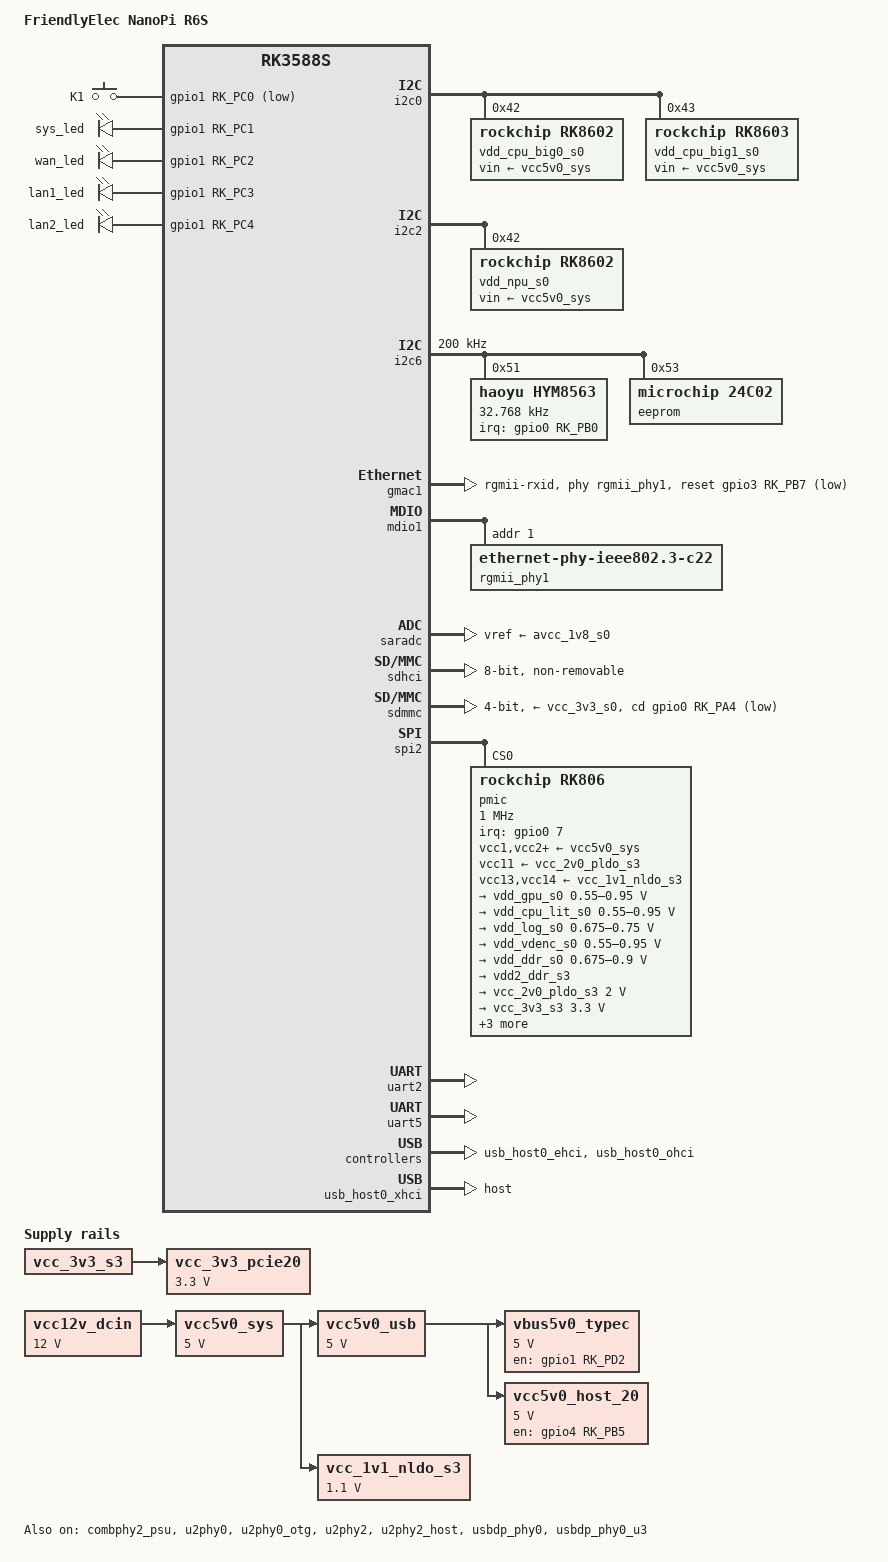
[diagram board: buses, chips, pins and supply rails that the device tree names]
// SPDX-License-Identifier: (GPL-2.0+ OR MIT)

/dts-v1/;

#include <dt-bindings/gpio/gpio.h>
#include <dt-bindings/leds/common.h>
#include <dt-bindings/input/input.h>
#include <dt-bindings/pinctrl/rockchip.h>
#include "rk3588s.dtsi"

/ {
	model = "FriendlyElec NanoPi R6S";
	compatible = "friendlyelec,nanopi-r6s", "rockchip,rk3588s";

	aliases {
		mmc0 = &sdhci;
		mmc1 = &sdmmc;
		serial2 = &uart2;
	};

	chosen {
		stdout-path = "serial2:1500000n8";
	};

	gpio_keys: gpio-keys {
		compatible = "gpio-keys";
		pinctrl-names = "default";
		pinctrl-0 = <&key1_pin>;

		button@1 {
			debounce-interval = <50>;
			gpios = <&gpio1 RK_PC0 GPIO_ACTIVE_LOW>;
			label = "K1";
			linux,code = <BTN_1>;
			wakeup-source;
		};
	};

	gpio_leds: gpio-leds {
		compatible = "gpio-leds";

		sys_led: led-0 {
			gpios = <&gpio1 RK_PC1 GPIO_ACTIVE_HIGH>;
			label = "sys_led";
			linux,default-trigger = "heartbeat";
			pinctrl-names = "default";
			pinctrl-0 = <&sys_led_pin>;
		};

		wan_led: led-1 {
			gpios = <&gpio1 RK_PC2 GPIO_ACTIVE_HIGH>;
			label = "wan_led";
			pinctrl-names = "default";
			pinctrl-0 = <&wan_led_pin>;
		};

		lan1_led: led-2 {
			gpios = <&gpio1 RK_PC3 GPIO_ACTIVE_HIGH>;
			label = "lan1_led";
			pinctrl-names = "default";
			pinctrl-0 = <&lan1_led_pin>;
		};

		lan2_led: led-3 {
			gpios = <&gpio1 RK_PC4 GPIO_ACTIVE_HIGH>;
			label = "lan2_led";
			pinctrl-names = "default";
			pinctrl-0 = <&lan2_led_pin>;
		};
	};

	vcc12v_dcin: vcc12v-dcin-regulator {
		compatible = "regulator-fixed";
		regulator-name = "vcc12v_dcin";
		regulator-always-on;
		regulator-boot-on;
		regulator-min-microvolt = <12000000>;
		regulator-max-microvolt = <12000000>;
	};

	vcc5v0_sys: vcc5v0-sys-regulator {
		compatible = "regulator-fixed";
		regulator-name = "vcc5v0_sys";
		regulator-always-on;
		regulator-boot-on;
		regulator-min-microvolt = <5000000>;
		regulator-max-microvolt = <5000000>;
		vin-supply = <&vcc12v_dcin>;
	};

	vcc5v0_usb: vcc5v0-usb {
		compatible = "regulator-fixed";
		regulator-name = "vcc5v0_usb";
		regulator-always-on;
		regulator-boot-on;
		regulator-min-microvolt = <5000000>;
		regulator-max-microvolt = <5000000>;
		vin-supply = <&vcc5v0_sys>;
	};

	vcc_1v1_nldo_s3: vcc-1v1-nldo-s3-regulator {
		compatible = "regulator-fixed";
		regulator-name = "vcc_1v1_nldo_s3";
		regulator-always-on;
		regulator-boot-on;
		regulator-min-microvolt = <1100000>;
		regulator-max-microvolt = <1100000>;
		vin-supply = <&vcc5v0_sys>;
	};

	vcc_3v3_pcie20: vcc3v3-pcie20 {
		compatible = "regulator-fixed";
		regulator-name = "vcc_3v3_pcie20";
		regulator-always-on;
		regulator-boot-on;
		regulator-min-microvolt = <3300000>;
		regulator-max-microvolt = <3300000>;
		vin-supply = <&vcc_3v3_s3>;
	};

	vbus5v0_typec: vbus5v0-typec {
		compatible = "regulator-fixed";
		enable-active-high;
		gpio = <&gpio1 RK_PD2 GPIO_ACTIVE_HIGH>;
		pinctrl-names = "default";
		pinctrl-0 = <&typec5v_pwren>;
		regulator-name = "vbus5v0_typec";
		regulator-min-microvolt = <5000000>;
		regulator-max-microvolt = <5000000>;
		vin-supply = <&vcc5v0_usb>;
	};

	vcc5v0_host_20: vcc5v0-host-20 {
		compatible = "regulator-fixed";
		enable-active-high;
		gpio = <&gpio4 RK_PB5 GPIO_ACTIVE_HIGH>;
		pinctrl-names = "default";
		pinctrl-0 = <&vcc5v0_host20_en>;
		regulator-name = "vcc5v0_host_20";
		regulator-min-microvolt = <5000000>;
		regulator-max-microvolt = <5000000>;
		vin-supply = <&vcc5v0_usb>;
	};
};

&combphy2_psu {
	status = "okay";
};

&cpu_b0 {
	cpu-supply = <&vdd_cpu_big0_s0>;
};

&cpu_b1 {
	cpu-supply = <&vdd_cpu_big0_s0>;
};

&cpu_b2 {
	cpu-supply = <&vdd_cpu_big1_s0>;
};

&cpu_b3 {
	cpu-supply = <&vdd_cpu_big1_s0>;
};

&cpu_l0 {
	cpu-supply = <&vdd_cpu_lit_s0>;
};

&cpu_l1 {
	cpu-supply = <&vdd_cpu_lit_s0>;
};

&cpu_l2 {
	cpu-supply = <&vdd_cpu_lit_s0>;
};

&cpu_l3 {
	cpu-supply = <&vdd_cpu_lit_s0>;
};

&i2c0 {
	pinctrl-names = "default";
	pinctrl-0 = <&i2c0m2_xfer>;
	status = "okay";

	vdd_cpu_big0_s0: regulator@42 {
		compatible = "rockchip,rk8602";
		reg = <0x42>;
		regulator-name = "vdd_cpu_big0_s0";
		regulator-compatible = "rk860x-reg";
		regulator-always-on;
		regulator-boot-on;
		regulator-min-microvolt = <550000>;
		regulator-max-microvolt = <1050000>;
		regulator-ramp-delay = <2300>;
		rockchip,suspend-voltage-selector = <1>;
		vin-supply = <&vcc5v0_sys>;

		regulator-state-mem {
			regulator-off-in-suspend;
		};
	};

	vdd_cpu_big1_s0: regulator@43 {
		compatible = "rockchip,rk8603", "rockchip,rk8602";
		reg = <0x43>;
		regulator-name = "vdd_cpu_big1_s0";
		regulator-compatible = "rk860x-reg";
		regulator-always-on;
		regulator-boot-on;
		regulator-min-microvolt = <550000>;
		regulator-max-microvolt = <1050000>;
		regulator-ramp-delay = <2300>;
		rockchip,suspend-voltage-selector = <1>;
		vin-supply = <&vcc5v0_sys>;

		regulator-state-mem {
			regulator-off-in-suspend;
		};
	};
};

&i2c2 {
	status = "okay";

	vdd_npu_s0: regulator@42 {
		compatible = "rockchip,rk8602";
		reg = <0x42>;
		regulator-compatible = "rk860x-reg";
		regulator-name = "vdd_npu_s0";
		regulator-always-on;
		regulator-boot-on;
		regulator-min-microvolt = <550000>;
		regulator-max-microvolt = <950000>;
		regulator-ramp-delay = <2300>;
		rockchip,suspend-voltage-selector = <1>;
		vin-supply = <&vcc5v0_sys>;

		regulator-state-mem {
			regulator-off-in-suspend;
		};
	};
};

&i2c3 {
	status = "disabled";
};

&i2c4 {
	status = "disabled";
	pinctrl-names = "default";
	pinctrl-0 = <&i2c4m3_xfer>;
};

&i2c5 {
	status = "disabled";
	pinctrl-names = "default";
	pinctrl-0 = <&i2c5m2_xfer>;
};

&i2c6 {
	clock-frequency = <200000>;
	status = "okay";

	hym8563: hym8563@51 {
		compatible = "haoyu,hym8563";
		reg = <0x51>;
		#clock-cells = <0>;
		clock-frequency = <32768>;
		clock-output-names = "hym8563";
		pinctrl-names = "default";
		pinctrl-0 = <&rtc_int>;

		interrupt-parent = <&gpio0>;
		interrupts = <RK_PB0 IRQ_TYPE_LEVEL_LOW>;
		wakeup-source;
	};

	eeprom@53 {
		compatible = "microchip,24c02", "atmel,24c02";
		reg = <0x53>;
		#address-cells = <2>;
		#size-cells = <0>;
		pagesize = <16>;
		size = <256>;

		eui_48: eui-48@fa {
			reg = <0xfa 0x06>;
		};
	};
};

&i2c7 {
	status = "disabled";
};

&i2c8 {
	status = "disabled";
};

&gmac1 {
	/* Use rgmii-rxid mode to disable rx delay inside Soc */
	phy-mode = "rgmii-rxid";
	clock_in_out = "output";
	snps,no-vlhash;
	snps,reset-gpio = <&gpio3 RK_PB7 GPIO_ACTIVE_LOW>;
	snps,reset-active-low;
	/* Reset time is 20ms, 100ms for rtl8211f */
	snps,reset-delays-us = <0 20000 100000>;
	phy-handle = <&rgmii_phy1>;
	pinctrl-0 = <&gmac1_miim
		     &gmac1_tx_bus2
		     &gmac1_rx_bus2
		     &gmac1_rgmii_clk
		     &gmac1_rgmii_bus>;
	pinctrl-names = "default";
	tx_delay = <0x3a>;
	rx_delay = <0x3e>;
	status = "okay";
};

&mdio1 {
	rgmii_phy1: ethernet-phy@1 {
		compatible = "ethernet-phy-ieee802.3-c22";
		reg = <0x1>;
	};
};

&pinctrl {
	gpio-key {
		key1_pin: key1-pin {
			rockchip,pins = <1 RK_PC0 RK_FUNC_GPIO &pcfg_pull_up>;
		};
	};

	gpio-leds {
		sys_led_pin: sys-led-pin {
			rockchip,pins =
				<1 RK_PC1 RK_FUNC_GPIO &pcfg_pull_none>;
		};

		wan_led_pin: wan-led-pin {
			rockchip,pins =
				<1 RK_PC2 RK_FUNC_GPIO &pcfg_pull_none>;
		};

		lan1_led_pin: lan1-led-pin {
			rockchip,pins =
				<1 RK_PC3 RK_FUNC_GPIO &pcfg_pull_none>;
		};

		lan2_led_pin: lan2-led-pin {
			rockchip,pins =
				<1 RK_PC4 RK_FUNC_GPIO &pcfg_pull_none>;
		};
	};

	hym8563 {
		rtc_int: rtc-int {
			rockchip,pins = <0 RK_PB0 RK_FUNC_GPIO &pcfg_pull_up>;
		};
	};

	usb {
		typec5v_pwren: typec5v-pwren {
			rockchip,pins = <1 RK_PD2 RK_FUNC_GPIO &pcfg_pull_none>;
		};

		/omit-if-no-ref/
		usbc0_int: usbc0-int {
			rockchip,pins = <0 RK_PD3 RK_FUNC_GPIO &pcfg_pull_up>;
		};

		vcc5v0_host20_en: vcc5v0-host20-en {
			rockchip,pins = <4 RK_PB5 RK_FUNC_GPIO &pcfg_pull_none>;
		};
	};
};

&saradc {
	vref-supply = <&avcc_1v8_s0>;
	status = "okay";
};

&sdhci {
	bus-width = <8>;
	no-sdio;
	no-sd;
	non-removable;
	max-frequency = <200000000>;
	mmc-hs400-1_8v;
	mmc-hs400-enhanced-strobe;
	status = "okay";
};

&sdmmc {
	bus-width = <4>;
	cap-mmc-highspeed;
	cap-sd-highspeed;
	cd-gpios = <&gpio0 RK_PA4 GPIO_ACTIVE_LOW>;
	disable-wp;
	max-frequency = <150000000>;
	no-sdio;
	no-mmc;
	sd-uhs-sdr104;
	vmmc-supply = <&vcc_3v3_s0>;
	vqmmc-supply = <&vccio_sd_s0>;
	status = "okay";
};

&spi2 {
	status = "okay";
	assigned-clocks = <&cru CLK_SPI2>;
	assigned-clock-rates = <200000000>;
	num-cs = <1>;
	pinctrl-names = "default";
	pinctrl-0 = <&spi2m2_cs0 &spi2m2_pins>;

	pmic@0 {
		compatible = "rockchip,rk806";
		reg = <0x0>;
		interrupt-parent = <&gpio0>;
		interrupts = <7 IRQ_TYPE_LEVEL_LOW>;
		pinctrl-names = "default";
		pinctrl-0 = <&pmic_pins>, <&rk806_dvs1_null>,
			    <&rk806_dvs2_null>, <&rk806_dvs3_null>;
		spi-max-frequency = <1000000>;

		vcc1-supply = <&vcc5v0_sys>;
		vcc2-supply = <&vcc5v0_sys>;
		vcc3-supply = <&vcc5v0_sys>;
		vcc4-supply = <&vcc5v0_sys>;
		vcc5-supply = <&vcc5v0_sys>;
		vcc6-supply = <&vcc5v0_sys>;
		vcc7-supply = <&vcc5v0_sys>;
		vcc8-supply = <&vcc5v0_sys>;
		vcc9-supply = <&vcc5v0_sys>;
		vcc10-supply = <&vcc5v0_sys>;
		vcc11-supply = <&vcc_2v0_pldo_s3>;
		vcc12-supply = <&vcc5v0_sys>;
		vcc13-supply = <&vcc_1v1_nldo_s3>;
		vcc14-supply = <&vcc_1v1_nldo_s3>;
		vcca-supply = <&vcc5v0_sys>;

		gpio-controller;
		#gpio-cells = <2>;

		rk806_dvs1_null: dvs1-null-pins {
			pins = "gpio_pwrctrl2";
			function = "pin_fun0";
		};

		rk806_dvs2_null: dvs2-null-pins {
			pins = "gpio_pwrctrl2";
			function = "pin_fun0";
		};

		rk806_dvs3_null: dvs3-null-pins {
			pins = "gpio_pwrctrl3";
			function = "pin_fun0";
		};

		regulators {
			vdd_gpu_s0: vdd_gpu_mem_s0: dcdc-reg1 {
				regulator-name = "vdd_gpu_s0";
				regulator-boot-on;
				regulator-min-microvolt = <550000>;
				regulator-max-microvolt = <950000>;
				regulator-ramp-delay = <12500>;
				regulator-enable-ramp-delay = <400>;

				regulator-state-mem {
					regulator-off-in-suspend;
				};
			};

			vdd_cpu_lit_s0: vdd_cpu_lit_mem_s0: dcdc-reg2 {
				regulator-name = "vdd_cpu_lit_s0";
				regulator-always-on;
				regulator-boot-on;
				regulator-min-microvolt = <550000>;
				regulator-max-microvolt = <950000>;
				regulator-ramp-delay = <12500>;

				regulator-state-mem {
					regulator-off-in-suspend;
				};
			};

			vdd_log_s0: dcdc-reg3 {
				regulator-name = "vdd_log_s0";
				regulator-always-on;
				regulator-boot-on;
				regulator-min-microvolt = <675000>;
				regulator-max-microvolt = <750000>;
				regulator-ramp-delay = <12500>;

				regulator-state-mem {
					regulator-off-in-suspend;
					regulator-suspend-microvolt = <750000>;
				};
			};

			vdd_vdenc_s0: vdd_vdenc_mem_s0: dcdc-reg4 {
				regulator-name = "vdd_vdenc_s0";
				regulator-always-on;
				regulator-boot-on;
				regulator-min-microvolt = <550000>;
				regulator-max-microvolt = <950000>;
				regulator-ramp-delay = <12500>;

				regulator-state-mem {
					regulator-off-in-suspend;
				};
			};

			vdd_ddr_s0: dcdc-reg5 {
				regulator-name = "vdd_ddr_s0";
				regulator-always-on;
				regulator-boot-on;
				regulator-min-microvolt = <675000>;
				regulator-max-microvolt = <900000>;
				regulator-ramp-delay = <12500>;

				regulator-state-mem {
					regulator-off-in-suspend;
					regulator-suspend-microvolt = <850000>;
				};
			};

			vdd2_ddr_s3: dcdc-reg6 {
				regulator-name = "vdd2_ddr_s3";
				regulator-always-on;
				regulator-boot-on;

				regulator-state-mem {
					regulator-on-in-suspend;
				};
			};

			vcc_2v0_pldo_s3: dcdc-reg7 {
				regulator-name = "vdd_2v0_pldo_s3";
				regulator-always-on;
				regulator-boot-on;
				regulator-min-microvolt = <2000000>;
				regulator-max-microvolt = <2000000>;
				regulator-ramp-delay = <12500>;

				regulator-state-mem {
					regulator-on-in-suspend;
					regulator-suspend-microvolt = <2000000>;
				};
			};

			vcc_3v3_s3: dcdc-reg8 {
				regulator-name = "vcc_3v3_s3";
				regulator-always-on;
				regulator-boot-on;
				regulator-min-microvolt = <3300000>;
				regulator-max-microvolt = <3300000>;

				regulator-state-mem {
					regulator-on-in-suspend;
					regulator-suspend-microvolt = <3300000>;
				};
			};

			vddq_ddr_s0: dcdc-reg9 {
				regulator-name = "vddq_ddr_s0";
				regulator-always-on;
				regulator-boot-on;

				regulator-state-mem {
					regulator-off-in-suspend;
				};
			};

			vcc_1v8_s3: dcdc-reg10 {
				regulator-name = "vcc_1v8_s3";
				regulator-always-on;
				regulator-boot-on;
				regulator-min-microvolt = <1800000>;
				regulator-max-microvolt = <1800000>;

				regulator-state-mem {
					regulator-on-in-suspend;
					regulator-suspend-microvolt = <1800000>;
				};
			};

			avcc_1v8_s0: pldo-reg1 {
				regulator-name = "avcc_1v8_s0";
				regulator-always-on;
				regulator-boot-on;
				regulator-min-microvolt = <1800000>;
				regulator-max-microvolt = <1800000>;

				regulator-state-mem {
					regulator-off-in-suspend;
				};
			};

			vcc_1v8_s0: pldo-reg2 {
				regulator-name = "vcc_1v8_s0";
				regulator-always-on;
				regulator-boot-on;
				regulator-min-microvolt = <1800000>;
				regulator-max-microvolt = <1800000>;

				regulator-state-mem {
					regulator-off-in-suspend;
					regulator-suspend-microvolt = <1800000>;
				};
			};

			avdd_1v2_s0: pldo-reg3 {
				regulator-name = "avdd_1v2_s0";
				regulator-always-on;
				regulator-boot-on;
				regulator-min-microvolt = <1200000>;
				regulator-max-microvolt = <1200000>;

				regulator-state-mem {
					regulator-off-in-suspend;
				};
			};

			vcc_3v3_s0: pldo-reg4 {
				regulator-name = "vcc_3v3_s0";
				regulator-always-on;
				regulator-boot-on;
				regulator-min-microvolt = <3300000>;
				regulator-max-microvolt = <3300000>;
				regulator-ramp-delay = <12500>;

				regulator-state-mem {
					regulator-off-in-suspend;
				};
			};

			vccio_sd_s0: pldo-reg5 {
				regulator-name = "vccio_sd_s0";
				regulator-always-on;
				regulator-boot-on;
				regulator-min-microvolt = <1800000>;
				regulator-max-microvolt = <3300000>;
				regulator-ramp-delay = <12500>;

				regulator-state-mem {
					regulator-off-in-suspend;
				};
			};

			pldo6_s3: pldo-reg6 {
				regulator-name = "pldo6_s3";
				regulator-always-on;
				regulator-boot-on;
				regulator-min-microvolt = <1800000>;
				regulator-max-microvolt = <1800000>;

				regulator-state-mem {
					regulator-on-in-suspend;
					regulator-suspend-microvolt = <1800000>;
				};
			};

			vdd_0v75_s3: nldo-reg1 {
				regulator-name = "vdd_0v75_s3";
				regulator-always-on;
				regulator-boot-on;
				regulator-min-microvolt = <750000>;
				regulator-max-microvolt = <750000>;

				regulator-state-mem {
					regulator-on-in-suspend;
					regulator-suspend-microvolt = <750000>;
				};
			};

			vdd_ddr_pll_s0: nldo-reg2 {
				regulator-name = "vdd_ddr_pll_s0";
				regulator-always-on;
				regulator-boot-on;
				regulator-min-microvolt = <850000>;
				regulator-max-microvolt = <850000>;

				regulator-state-mem {
					regulator-off-in-suspend;
					regulator-suspend-microvolt = <850000>;
				};
			};

			avdd_0v75_s0: nldo-reg3 {
				regulator-name = "avdd_0v75_s0";
				regulator-always-on;
				regulator-boot-on;
				regulator-min-microvolt = <750000>;
				regulator-max-microvolt = <750000>;

				regulator-state-mem {
					regulator-off-in-suspend;
				};
			};

			vdd_0v85_s0: nldo-reg4 {
				regulator-name = "vdd_0v85_s0";
				regulator-always-on;
				regulator-boot-on;
				regulator-min-microvolt = <850000>;
				regulator-max-microvolt = <850000>;

				regulator-state-mem {
					regulator-off-in-suspend;
				};
			};

			vdd_0v75_s0: nldo-reg5 {
				regulator-name = "vdd_0v75_s0";
				regulator-always-on;
				regulator-boot-on;
				regulator-min-microvolt = <750000>;
				regulator-max-microvolt = <750000>;

				regulator-state-mem {
					regulator-off-in-suspend;
				};
			};
		};
	};
};

&uart2 {
	pinctrl-0 = <&uart2m0_xfer>;
	status = "okay";
};

&uart5 {
	pinctrl-0 = <&uart5m1_xfer>;
	status = "okay";
};

&u2phy0 {
	status = "okay";
};

&u2phy0_otg {
	phy-supply = <&vbus5v0_typec>;
	status = "okay";
};

&u2phy2 {
	status = "okay";
};

&u2phy2_host {
	status = "okay";
	phy-supply = <&vcc5v0_host_20>;
};

&usbdp_phy0 {
	status = "okay";
	rockchip,dp-lane-mux = <2 3>;
};

&usbdp_phy0_u3 {
	status = "okay";
};

&usb_host0_ehci {
	status = "okay";
};

&usb_host0_ohci {
	status = "okay";
};

&usb_host0_xhci {
	dr_mode = "host";
	extcon = <&u2phy0>;
	snps,xhci-trb-ent-quirk;
	status = "okay";
};

&usb_host1_ehci {
	status = "disabled";
};

&usb_host1_ohci {
	status = "disabled";
};

&usb_host2_xhci {
	status = "disabled";
};

&avcc_1v8_s0 {
	regulator-state-mem {
		regulator-on-in-suspend;
		regulator-suspend-microvolt = <1800000>;
	};
};
